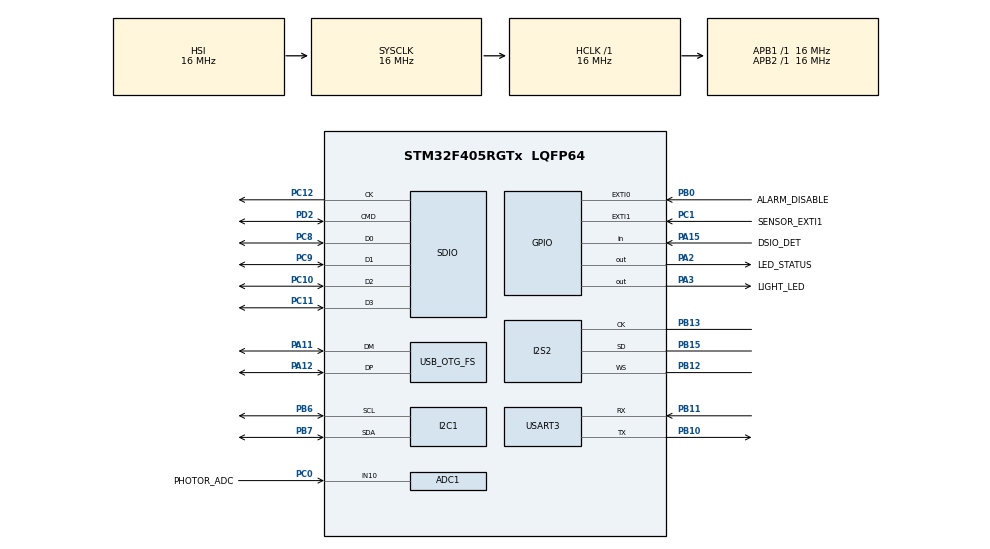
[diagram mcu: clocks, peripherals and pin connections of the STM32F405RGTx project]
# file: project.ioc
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ADC1.Channel-0\#ChannelRegularConversion=ADC_CHANNEL_10
ADC1.NbrOfConversionFlag=1
ADC1.Rank-0\#ChannelRegularConversion=1
ADC1.SamplingTime-0\#ChannelRegularConversion=ADC_SAMPLETIME_3CYCLES
ADC1.master=1
Dma.Request0=SDIO
Dma.Request1=SPI2_TX
Dma.SDIO.0.Direction=DMA_PERIPH_TO_MEMORY
Dma.SDIO.0.FIFOMode=DMA_FIFOMODE_ENABLE
Dma.SDIO.0.FIFOThreshold=DMA_FIFO_THRESHOLD_FULL
Dma.SDIO.0.Instance=DMA2_Stream3
Dma.SDIO.0.MemBurst=DMA_MBURST_INC4
Dma.SDIO.0.MemDataAlignment=DMA_MDATAALIGN_WORD
Dma.SDIO.0.MemInc=DMA_MINC_ENABLE
Dma.SDIO.0.Mode=DMA_PFCTRL
Dma.SDIO.0.PeriphBurst=DMA_PBURST_INC4
Dma.SDIO.0.PeriphDataAlignment=DMA_PDATAALIGN_WORD
Dma.SDIO.0.PeriphInc=DMA_PINC_DISABLE
Dma.SDIO.0.Priority=DMA_PRIORITY_LOW
Dma.SPI2_TX.1.Direction=DMA_MEMORY_TO_PERIPH
Dma.SPI2_TX.1.FIFOMode=DMA_FIFOMODE_DISABLE
Dma.SPI2_TX.1.Instance=DMA1_Stream4
Dma.SPI2_TX.1.MemDataAlignment=DMA_MDATAALIGN_HALFWORD
Dma.SPI2_TX.1.MemInc=DMA_MINC_ENABLE
Dma.SPI2_TX.1.Mode=DMA_CIRCULAR
Dma.SPI2_TX.1.PeriphDataAlignment=DMA_PDATAALIGN_HALFWORD
Dma.SPI2_TX.1.PeriphInc=DMA_PINC_DISABLE
Dma.SPI2_TX.1.Priority=DMA_PRIORITY_LOW
FATFS.BSP.number=1
FATFS0.BSP.STBoard=false
FATFS0.BSP.api=Unknown
FATFS0.BSP.instance=PA15
FATFS0.BSP.ip=GPIO
FATFS0.BSP.mode=Input
FATFS0.BSP.name=Detect_SDIO
FATFS0.BSP.solution=PA15
I2S2.AudioFreq=I2S_AUDIOFREQ_44K
I2S2.ErrorAudioFreq=0.22 %
I2S2.FullDuplexMode=I2S_FULLDUPLEXMODE_DISABLE
I2S2.Instance=SPI$Index
I2S2.RealAudioFreq=44.1 KHz
I2S2.VirtualMode=I2S_MODE_MASTER
Mcu.Family=STM32F4
Mcu.Name=STM32F405RGTx
Mcu.Package=LQFP64
NVIC.DMA1_Stream4_IRQn=true\:0\:0\:false\:false\:true\:false\:true\:true
NVIC.DMA2_Stream3_IRQn=true\:0\:0\:false\:false\:true\:false\:true\:true
NVIC.OTG_FS_IRQn=true\:0\:0\:false\:false\:true\:false\:true\:true
NVIC.PriorityGroup=NVIC_PRIORITYGROUP_4
NVIC.SPI2_IRQn=true\:0\:0\:false\:false\:true\:true\:true\:true
PA11.Mode=Device_Only
PA11.Signal=USB_OTG_FS_DM
PA12.Mode=Device_Only
PA12.Signal=USB_OTG_FS_DP
PA13.Mode=Trace_Asynchronous_SW
PA13.Signal=SYS_JTMS-SWDIO
PA14.Mode=Trace_Asynchronous_SW
PA14.Signal=SYS_JTCK-SWCLK
PA15.GPIO_Label=DSIO_DET
PA15.Signal=GPIO_Input
PA2.GPIO_Label=LED_STATUS
PA2.Signal=GPIO_Output
PA3.GPIO_Label=LIGHT_LED
PA3.PinState=GPIO_PIN_SET
PA3.Signal=GPIO_Output
PB0.GPIO_Label=ALARM_DISABLE
PB0.GPIO_ModeDefaultEXTI=GPIO_MODE_IT_FALLING
PB0.Signal=GPXTI0
PB10.Mode=Asynchronous
PB10.Signal=USART3_TX
PB11.Mode=Asynchronous
PB11.Signal=USART3_RX
PB12.Mode=Half_Duplex_Master
PB12.Signal=I2S2_WS
PB13.Mode=Half_Duplex_Master
PB13.Signal=I2S2_CK
PB15.Mode=Half_Duplex_Master
PB15.Signal=I2S2_SD
PB3.Mode=Trace_Asynchronous_SW
PB3.Signal=SYS_JTDO-SWO
PB6.Mode=I2C
PB6.Signal=I2C1_SCL
PB7.Mode=I2C
PB7.Signal=I2C1_SDA
PC0.GPIO_Label=PHOTOR_ADC
PC0.Signal=ADCx_IN10
PC1.GPIO_Label=SENSOR_EXTI1
PC1.Signal=GPXTI1
PC10.GPIO_Speed_High_Default=GPIO_SPEED_FREQ_LOW
PC10.Mode=SD_4_bits_Wide_bus
PC10.Signal=SDIO_D2
PC11.GPIO_Speed_High_Default=GPIO_SPEED_FREQ_LOW
PC11.Mode=SD_4_bits_Wide_bus
PC11.Signal=SDIO_D3
PC12.GPIO_Speed_High_Default=GPIO_SPEED_FREQ_LOW
PC12.Mode=SD_4_bits_Wide_bus
PC12.Signal=SDIO_CK
PC14-OSC32_IN.GPIO_Label=RTC_IN
PC14-OSC32_IN.Mode=LSE-External-Oscillator
PC14-OSC32_IN.Signal=RCC_OSC32_IN
PC15-OSC32_OUT.GPIO_Label=RTC_OUT
PC15-OSC32_OUT.Mode=LSE-External-Oscillator
PC15-OSC32_OUT.Signal=RCC_OSC32_OUT
PC8.GPIO_Speed_High_Default=GPIO_SPEED_FREQ_LOW
PC8.Mode=SD_4_bits_Wide_bus
PC8.Signal=SDIO_D0
PC9.GPIO_Speed_High_Default=GPIO_SPEED_FREQ_LOW
PC9.Mode=SD_4_bits_Wide_bus
PC9.Signal=SDIO_D1
PD2.GPIO_Speed_High_Default=GPIO_SPEED_FREQ_LOW
PD2.Mode=SD_4_bits_Wide_bus
PD2.Signal=SDIO_CMD
PH0-OSC_IN.Mode=HSE-External-Oscillator
PH0-OSC_IN.Signal=RCC_OSC_IN
PH1-OSC_OUT.Mode=HSE-External-Oscillator
PH1-OSC_OUT.Signal=RCC_OSC_OUT
ProjectManager.HeapSize=0x200
ProjectManager.StackSize=0x400
ProjectManager.TargetToolchain=STM32CubeIDE
RCC.48MHZClocksFreq_Value=48000000
RCC.AHBFreq_Value=16000000
RCC.APB1Freq_Value=16000000
RCC.APB1TimFreq_Value=16000000
RCC.APB2Freq_Value=16000000
RCC.APB2TimFreq_Value=16000000
RCC.CortexFreq_Value=16000000
RCC.HCLKFreq_Value=16000000
RCC.HSE_VALUE=16000000
RCC.HSI_VALUE=16000000
RCC.PLLI2SN=151
RCC.PLLM=8
RCC.PLLN=72
RCC.PLLQ=3
RCC.RCC_RTC_Clock_Source=RCC_RTCCLKSOURCE_LSE
RCC.RCC_RTC_Clock_SourceVirtual=RCC_RTCCLKSOURCE_LSE
RCC.SYSCLKFreq_VALUE=16000000
RCC.VCOOutputFreq_Value=144000000
SDIO.ClockBypass=SDIO_CLOCK_BYPASS_ENABLE
SH.ADCx_IN10.0=ADC1_IN10,IN10
USART3.VirtualMode=VM_ASYNC
USB_DEVICE.CLASS_NAME_FS=CDC
USB_DEVICE.VirtualMode-CDC_FS=Cdc
USB_DEVICE.VirtualModeFS=Cdc_FS
USB_OTG_FS.VirtualMode=Device_Only
VP_FATFS_VS_SDIO.Mode=SDIO
VP_RTC_VS_RTC_Activate.Mode=RTC_Enabled
VP_RTC_VS_RTC_Calendar.Mode=RTC_Calendar
VP_USB_DEVICE_VS_USB_DEVICE_CDC_FS.Mode=CDC_FS
board=custom

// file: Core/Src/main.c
/* USER CODE BEGIN Header */
/**
  ******************************************************************************
  * @file           : main.c
  * @brief          : Main program body
  ******************************************************************************
  * @attention
  *
  * Copyright (c) 2026 STMicroelectronics.
  * All rights reserved.
  *
  * This software is licensed under terms that can be found in the LICENSE file
  * in the root directory of this software component.
  * If no LICENSE file comes with this software, it is provided AS-IS.
  *
  ******************************************************************************
  */
/* USER CODE END Header */
#include "main.h"
#include "fatfs.h"
#include "usb_device.h"

/* USER CODE BEGIN Includes */
#include "wav_player.h"
/* USER CODE END Includes */

ADC_HandleTypeDef hadc1;

I2C_HandleTypeDef hi2c1;

I2S_HandleTypeDef hi2s2;

RTC_HandleTypeDef hrtc;

SD_HandleTypeDef hsd;
DMA_HandleTypeDef hdma_sdio;

UART_HandleTypeDef huart3;

/* USER CODE BEGIN PV */
const char total_uptime_filename[] = "uptime.dat";
const char tick_filename[] = "tick.txt";
const char big_filename[] = "big.dat";
uint64_t total_uptime;
/* USER CODE END PV */

void SystemClock_Config(void);
static void MX_GPIO_Init(void);
static void MX_DMA_Init(void);
static void MX_I2C1_Init(void);
static void MX_I2S2_Init(void);
static void MX_USART3_UART_Init(void);
static void MX_SDIO_SD_Init(void);
static void MX_RTC_Init(void);
static void MX_ADC1_Init(void);

/* USER CODE BEGIN 0 */

// Send printf to uart1
int _write(int fd, char *ptr, int len) {
    HAL_StatusTypeDef hstatus;

    if (fd == 1 || fd == 2) {
        hstatus = HAL_UART_Transmit(&huart3, (uint8_t*) ptr, len, HAL_MAX_DELAY);
        if (hstatus == HAL_OK)
            return len;
        else
            return -1;
    }
    return -1;
}

uint8_t BSP_SD_IsDetected(void)
{
    __IO uint8_t status = SD_PRESENT;

    if (HAL_GPIO_ReadPin(SD_DETECT_GPIO_PORT, SD_DETECT_PIN) != GPIO_PIN_RESET) {
        status = SD_NOT_PRESENT;
    }

    return status;
}

void ls() {

    FRESULT res;
    DIR dir;
    char *path;

    path = ""; // where you want to list

    res = f_opendir(&dir, path);

#ifdef DEBUG
    if (res != FR_OK)
        printf("res = %d f_opendir\n", res);
#endif

    if (res == FR_OK) {
        while (1) {

            FILINFO fno;

            res = f_readdir(&dir, &fno);

#ifdef DEBUG
            if (res != FR_OK)
                printf("res = %d f_readdir\n", res);
#endif

            if ((res != FR_OK) || (fno.fname[0] == 0))
                break;

            printf("%c%c%c%c %10d %s/%s\n",
                    ((fno.fattrib & AM_DIR) ? 'D' : '-'),
                    ((fno.fattrib & AM_RDO) ? 'R' : '-'),
                    ((fno.fattrib & AM_SYS) ? 'S' : '-'),
                    ((fno.fattrib & AM_HID) ? 'H' : '-'),
                    (int) fno.fsize, path, fno.fname);
        }

    }

    uint32_t free_clusters;
    FATFS *fs_ptr;

    res = f_getfree("", &free_clusters, &fs_ptr);
    if (res == FR_OK) {
        uint32_t totalBlocks = (fs_ptr->n_fatent - 2) * fs_ptr->csize;
        uint32_t freeBlocks = free_clusters * fs_ptr->csize;

        printf("Total blocks: %lu (%lu Mb)\n", totalBlocks, totalBlocks / 2000);
        printf("Free blocks : %lu (%lu Mb)\n", freeBlocks, freeBlocks / 2000);
    } else {
        printf("Unable to get free space\n");
    }

}
/* USER CODE END 0 */

int main(void)
{

  /* MCU Configuration--------------------------------------------------------*/

  /* Reset of all peripherals, Initializes the Flash interface and the Systick. */
  HAL_Init();

  /* Configure the system clock */
  SystemClock_Config();

  /* Initialize all configured peripherals */
  MX_GPIO_Init();
  MX_DMA_Init();
  MX_I2C1_Init();
  MX_I2S2_Init();
  MX_USART3_UART_Init();
  MX_USB_DEVICE_Init();
  MX_SDIO_SD_Init();
  MX_RTC_Init();
  MX_ADC1_Init();
  MX_FATFS_Init();
  /* USER CODE BEGIN 2 */
  printf("\n\n\n\n--------\nStarting\n");

  printf("SD Card Information:\n");
  printf("Block size  : %lu\n", hsd.SdCard.BlockSize);
  printf("Block nmbr  : %lu\n", hsd.SdCard.BlockNbr);
  printf("Card size   : %lu\n", (hsd.SdCard.BlockSize * hsd.SdCard.BlockNbr) / 1000);
  printf("Card version: %lu\n", hsd.SdCard.CardVersion);

  uint32_t wbytes, rbytes;

  if (f_mount(&SDFatFS, (TCHAR const*) SDPath, 0) != FR_OK) {
      printf("Unable to mount disk\n");
      Error_Handler();
  }

  if (f_open(&SDFile, total_uptime_filename, FA_OPEN_EXISTING | FA_READ) == FR_OK) {
      if (f_read(&SDFile, &total_uptime, sizeof(total_uptime), (void*) &rbytes) == FR_OK) {
          printf("Total uptime = %llu\n", total_uptime);
          f_close(&SDFile);
      } else {
          printf("Unable to read\n");
          Error_Handler();
      }
  } else {
      // File did not exist - let's create it
      if (f_open(&SDFile, total_uptime_filename, FA_CREATE_ALWAYS | FA_WRITE) == FR_OK) {
          if (f_write(&SDFile, &total_uptime, sizeof(total_uptime), (void*) &wbytes) == FR_OK) {
              printf("File %s created\n", total_uptime_filename);
              f_close(&SDFile);
          } else {
              printf("Unable to write\n");
              Error_Handler();
          }
      } else {
          printf("Unable to create\n");
          Error_Handler();
      }
  }

  // Create tick file always
  if (f_open(&SDFile, tick_filename, FA_CREATE_ALWAYS | FA_WRITE) == FR_OK) {
      f_close(&SDFile);
  }

  uint8_t buf[1024]; // 1K buffer

  for (uint16_t i = 0; i < 1024; ++i) {
      buf[i] = (uint8_t) i;
  }

  uint32_t start = uwTick;
  if (f_open(&SDFile, big_filename, FA_CREATE_ALWAYS | FA_WRITE) == FR_OK) {
      for (uint16_t i = 0; i < 1 * 1024; ++i) {
          if (f_write(&SDFile, &buf, sizeof(buf), (void*) &wbytes) != FR_OK) {
              printf("Unable to write\n");
          }
      }
      f_close(&SDFile);
  } else {
      printf("Unable to open %s\n", big_filename);
  }
  printf("Write took %lu ms\n", uwTick - start);

  WavPlayer_Run();
  /* USER CODE END 2 */

  /* Infinite loop */
  /* USER CODE BEGIN WHILE */

  uint32_t now = 0, loop_cnt = 0, next_blink = 500, next_tick = 1000, next_ls = 10000;

  while (1)
  {
    /* USER CODE END WHILE */
	  now = uwTick;

		  if (now >= next_blink) {
			  HAL_GPIO_TogglePin(LED_STATUS_GPIO_Port, LIGHT_LED_Pin);
			  next_blink += 500;
		  }

		  if (now >= next_tick) {

			  ++total_uptime;

			  char s[128];

			  sprintf(s, "Tick %lu (loop = %lu total = %llu)\n", now / 1000, loop_cnt, total_uptime);

			  printf("%s", s);

			  // Write tick line to file
			  if (f_open(&SDFile, tick_filename, FA_OPEN_APPEND | FA_WRITE) == FR_OK) {
				  if (f_write(&SDFile, &s, strlen(s) + 1, (void*) &wbytes) != FR_OK) {
					  printf("Unable to write\n");
				  }
				  f_close(&SDFile);
			  } else {
				  printf("Unable to open tick file\n");
			  }

			  // Update the total uptime file
			  if (f_open(&SDFile, total_uptime_filename, FA_OPEN_EXISTING | FA_WRITE) == FR_OK) {
				  if (f_write(&SDFile, &total_uptime, sizeof(total_uptime), (void*) &wbytes) != FR_OK) {
					  printf("Unable to write\n");
				  }
				  f_close(&SDFile);
			  } else {
				  printf("Unable to open file\n");
			  }

			  loop_cnt = 0;
			  next_tick = now + 1000;
		  }

		  if (now >= next_ls) {

			  uint32_t start = uwTick;
			  uint32_t total = 0;
			  if (f_open(&SDFile, big_filename, FA_OPEN_EXISTING | FA_READ) == FR_OK) {
				  while (f_read(&SDFile, &buf, sizeof(buf), (void*) &rbytes) == FR_OK && rbytes == sizeof(buf)) {
					  total += rbytes;
				  }
				  f_close(&SDFile);
			  } else {
				  printf("Unable to open %s\n", big_filename);
			  }
			  printf("Read %lu bytes took %lu ms\n", total, uwTick - start);

			  ls();
			  next_ls = now + 10000;
		  }

		  ++loop_cnt;
  }
}

void SystemClock_Config(void)
{
  RCC_OscInitTypeDef RCC_OscInitStruct = {0};
  RCC_ClkInitTypeDef RCC_ClkInitStruct = {0};

  /** Configure the main internal regulator output voltage
  */
  __HAL_RCC_PWR_CLK_ENABLE();
  __HAL_PWR_VOLTAGESCALING_CONFIG(PWR_REGULATOR_VOLTAGE_SCALE1);

  /** Initializes the RCC Oscillators according to the specified parameters
  * in the RCC_OscInitTypeDef structure.
  */
  RCC_OscInitStruct.OscillatorType = RCC_OSCILLATORTYPE_HSI|RCC_OSCILLATORTYPE_HSE
                              |RCC_OSCILLATORTYPE_LSE;
  RCC_OscInitStruct.HSEState = RCC_HSE_ON;
  RCC_OscInitStruct.LSEState = RCC_LSE_ON;
  RCC_OscInitStruct.HSIState = RCC_HSI_ON;
  RCC_OscInitStruct.HSICalibrationValue = RCC_HSICALIBRATION_DEFAULT;
  RCC_OscInitStruct.PLL.PLLState = RCC_PLL_ON;
  RCC_OscInitStruct.PLL.PLLSource = RCC_PLLSOURCE_HSE;
  RCC_OscInitStruct.PLL.PLLM = 8;
  RCC_OscInitStruct.PLL.PLLN = 72;
  RCC_OscInitStruct.PLL.PLLP = RCC_PLLP_DIV2;
  RCC_OscInitStruct.PLL.PLLQ = 3;
  if (HAL_RCC_OscConfig(&RCC_OscInitStruct) != HAL_OK)
  {
    Error_Handler();
  }

  /** Initializes the CPU, AHB and APB buses clocks
  */
  RCC_ClkInitStruct.ClockType = RCC_CLOCKTYPE_HCLK|RCC_CLOCKTYPE_SYSCLK
                              |RCC_CLOCKTYPE_PCLK1|RCC_CLOCKTYPE_PCLK2;
  RCC_ClkInitStruct.SYSCLKSource = RCC_SYSCLKSOURCE_HSI;
  RCC_ClkInitStruct.AHBCLKDivider = RCC_SYSCLK_DIV1;
  RCC_ClkInitStruct.APB1CLKDivider = RCC_HCLK_DIV1;
  RCC_ClkInitStruct.APB2CLKDivider = RCC_HCLK_DIV1;

  if (HAL_RCC_ClockConfig(&RCC_ClkInitStruct, FLASH_LATENCY_0) != HAL_OK)
  {
    Error_Handler();
  }
}

static void MX_ADC1_Init(void)
{

  ADC_ChannelConfTypeDef sConfig = {0};

  /** Configure the global features of the ADC (Clock, Resolution, Data Alignment and number of conversion)
  */
  hadc1.Instance = ADC1;
  hadc1.Init.ClockPrescaler = ADC_CLOCK_SYNC_PCLK_DIV2;
  hadc1.Init.Resolution = ADC_RESOLUTION_12B;
  hadc1.Init.ScanConvMode = DISABLE;
  hadc1.Init.ContinuousConvMode = DISABLE;
  hadc1.Init.DiscontinuousConvMode = DISABLE;
  hadc1.Init.ExternalTrigConvEdge = ADC_EXTERNALTRIGCONVEDGE_NONE;
  hadc1.Init.ExternalTrigConv = ADC_SOFTWARE_START;
  hadc1.Init.DataAlign = ADC_DATAALIGN_RIGHT;
  hadc1.Init.NbrOfConversion = 1;
  hadc1.Init.DMAContinuousRequests = DISABLE;
  hadc1.Init.EOCSelection = ADC_EOC_SINGLE_CONV;
  if (HAL_ADC_Init(&hadc1) != HAL_OK)
  {
    Error_Handler();
  }

  /** Configure for the selected ADC regular channel its corresponding rank in the sequencer and its sample time.
  */
  sConfig.Channel = ADC_CHANNEL_10;
  sConfig.Rank = 1;
  sConfig.SamplingTime = ADC_SAMPLETIME_3CYCLES;
  if (HAL_ADC_ConfigChannel(&hadc1, &sConfig) != HAL_OK)
  {
    Error_Handler();
  }

}

static void MX_I2C1_Init(void)
{

  hi2c1.Instance = I2C1;
  hi2c1.Init.ClockSpeed = 100000;
  hi2c1.Init.DutyCycle = I2C_DUTYCYCLE_2;
  hi2c1.Init.OwnAddress1 = 0;
  hi2c1.Init.AddressingMode = I2C_ADDRESSINGMODE_7BIT;
  hi2c1.Init.DualAddressMode = I2C_DUALADDRESS_DISABLE;
  hi2c1.Init.OwnAddress2 = 0;
  hi2c1.Init.GeneralCallMode = I2C_GENERALCALL_DISABLE;
  hi2c1.Init.NoStretchMode = I2C_NOSTRETCH_DISABLE;
  if (HAL_I2C_Init(&hi2c1) != HAL_OK)
  {
    Error_Handler();
  }

}

static void MX_I2S2_Init(void)
{

  hi2s2.Instance = SPI2;
  hi2s2.Init.Mode = I2S_MODE_MASTER_TX;
  hi2s2.Init.Standard = I2S_STANDARD_PHILIPS;
  hi2s2.Init.DataFormat = I2S_DATAFORMAT_16B;
  hi2s2.Init.MCLKOutput = I2S_MCLKOUTPUT_DISABLE;
  hi2s2.Init.AudioFreq = I2S_AUDIOFREQ_44K;
  hi2s2.Init.CPOL = I2S_CPOL_LOW;
  hi2s2.Init.ClockSource = I2S_CLOCK_PLL;
  hi2s2.Init.FullDuplexMode = I2S_FULLDUPLEXMODE_DISABLE;
  if (HAL_I2S_Init(&hi2s2) != HAL_OK)
  {
    Error_Handler();
  }

}

static void MX_RTC_Init(void)
{

  RTC_TimeTypeDef sTime = {0};
  RTC_DateTypeDef sDate = {0};

  /** Initialize RTC Only
  */
  hrtc.Instance = RTC;
  hrtc.Init.HourFormat = RTC_HOURFORMAT_24;
  hrtc.Init.AsynchPrediv = 127;
  hrtc.Init.SynchPrediv = 255;
  hrtc.Init.OutPut = RTC_OUTPUT_DISABLE;
  hrtc.Init.OutPutPolarity = RTC_OUTPUT_POLARITY_HIGH;
  hrtc.Init.OutPutType = RTC_OUTPUT_TYPE_OPENDRAIN;
  if (HAL_RTC_Init(&hrtc) != HAL_OK)
  {
    Error_Handler();
  }

  /** Initialize RTC and set the Time and Date
  */
  sTime.Hours = 0x0;
  sTime.Minutes = 0x0;
  sTime.Seconds = 0x0;
  sTime.DayLightSaving = RTC_DAYLIGHTSAVING_NONE;
  sTime.StoreOperation = RTC_STOREOPERATION_RESET;
  if (HAL_RTC_SetTime(&hrtc, &sTime, RTC_FORMAT_BCD) != HAL_OK)
  {
    Error_Handler();
  }
  sDate.WeekDay = RTC_WEEKDAY_MONDAY;
  sDate.Month = RTC_MONTH_JANUARY;
  sDate.Date = 0x1;
  sDate.Year = 0x0;

  if (HAL_RTC_SetDate(&hrtc, &sDate, RTC_FORMAT_BCD) != HAL_OK)
  {
    Error_Handler();
  }

}

static void MX_SDIO_SD_Init(void)
{

  hsd.Instance = SDIO;
  hsd.Init.ClockEdge = SDIO_CLOCK_EDGE_RISING;
  hsd.Init.ClockBypass = SDIO_CLOCK_BYPASS_ENABLE;
  hsd.Init.ClockPowerSave = SDIO_CLOCK_POWER_SAVE_DISABLE;
  hsd.Init.BusWide = SDIO_BUS_WIDE_1B;
  hsd.Init.HardwareFlowControl = SDIO_HARDWARE_FLOW_CONTROL_DISABLE;
  hsd.Init.ClockDiv = 0;

}

static void MX_USART3_UART_Init(void)
{

  huart3.Instance = USART3;
  huart3.Init.BaudRate = 115200;
  huart3.Init.WordLength = UART_WORDLENGTH_8B;
  huart3.Init.StopBits = UART_STOPBITS_1;
  huart3.Init.Parity = UART_PARITY_NONE;
  huart3.Init.Mode = UART_MODE_TX_RX;
  huart3.Init.HwFlowCtl = UART_HWCONTROL_NONE;
  huart3.Init.OverSampling = UART_OVERSAMPLING_16;
  if (HAL_UART_Init(&huart3) != HAL_OK)
  {
    Error_Handler();
  }

}

static void MX_DMA_Init(void)
{

  /* DMA controller clock enable */
  __HAL_RCC_DMA2_CLK_ENABLE();

  /* DMA interrupt init */
  /* DMA2_Stream3_IRQn interrupt configuration */
  HAL_NVIC_SetPriority(DMA2_Stream3_IRQn, 0, 0);
  HAL_NVIC_EnableIRQ(DMA2_Stream3_IRQn);

}

static void MX_GPIO_Init(void)
{
  GPIO_InitTypeDef GPIO_InitStruct = {0};

  /* GPIO Ports Clock Enable */
  __HAL_RCC_GPIOC_CLK_ENABLE();
  __HAL_RCC_GPIOH_CLK_ENABLE();
  __HAL_RCC_GPIOA_CLK_ENABLE();
  __HAL_RCC_GPIOB_CLK_ENABLE();
  __HAL_RCC_GPIOD_CLK_ENABLE();

  /*Configure GPIO pin Output Level */
  HAL_GPIO_WritePin(LED_STATUS_GPIO_Port, LED_STATUS_Pin, GPIO_PIN_RESET);

  /*Configure GPIO pin Output Level */
  HAL_GPIO_WritePin(LIGHT_LED_GPIO_Port, LIGHT_LED_Pin, GPIO_PIN_SET);

  /*Configure GPIO pin : SENSOR_EXTI1_Pin */
  GPIO_InitStruct.Pin = SENSOR_EXTI1_Pin;
  GPIO_InitStruct.Mode = GPIO_MODE_IT_RISING;
  GPIO_InitStruct.Pull = GPIO_NOPULL;
  HAL_GPIO_Init(SENSOR_EXTI1_GPIO_Port, &GPIO_InitStruct);

  /*Configure GPIO pins : LED_STATUS_Pin LIGHT_LED_Pin */
  GPIO_InitStruct.Pin = LED_STATUS_Pin|LIGHT_LED_Pin;
  GPIO_InitStruct.Mode = GPIO_MODE_OUTPUT_PP;
  GPIO_InitStruct.Pull = GPIO_NOPULL;
  GPIO_InitStruct.Speed = GPIO_SPEED_FREQ_LOW;
  HAL_GPIO_Init(GPIOA, &GPIO_InitStruct);

  /*Configure GPIO pin : ALARM_DISABLE_Pin */
  GPIO_InitStruct.Pin = ALARM_DISABLE_Pin;
  GPIO_InitStruct.Mode = GPIO_MODE_IT_FALLING;
  GPIO_InitStruct.Pull = GPIO_NOPULL;
  HAL_GPIO_Init(ALARM_DISABLE_GPIO_Port, &GPIO_InitStruct);

  /*Configure GPIO pin : DSIO_DET_Pin */
  GPIO_InitStruct.Pin = DSIO_DET_Pin;
  GPIO_InitStruct.Mode = GPIO_MODE_INPUT;
  GPIO_InitStruct.Pull = GPIO_NOPULL;
  HAL_GPIO_Init(DSIO_DET_GPIO_Port, &GPIO_InitStruct);

}

void Error_Handler(void)
{
  __disable_irq();
  while (1)
  {
  }
}
